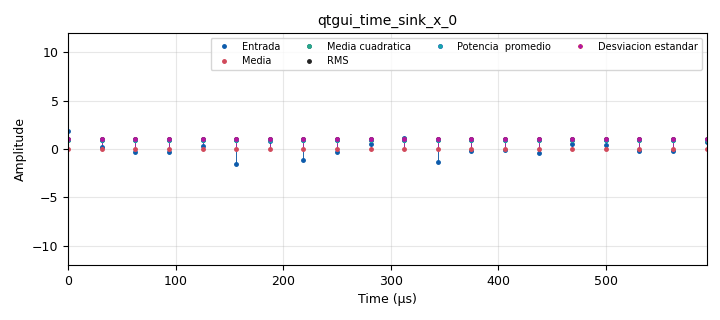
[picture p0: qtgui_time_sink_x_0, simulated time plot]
options:
  parameters:
    author: Gabriela_Nelson_Cristian
    copyright: UIS
    description: Desarrollo practica 2
    generate_options: qt_gui
    id: practica_2
    output_language: python
    title: practica_2
  states: {}

blocks:
- name: samp_rate
  id: variable
  parameters:
    value: '32000'
  states: {}
- name: analog_noise_source_x_0
  id: analog_noise_source_x
  parameters:
    amp: '1'
    noise_type: analog.GR_GAUSSIAN
    seed: '0'
    type: float
  states: {}
- name: blocks_vector_source_x_0
  id: blocks_vector_source_x
  parameters:
    repeat: 'True'
    type: float
    vector: (1,4,-2,-3)
  states: {state: disabled}
- name: epy_block_0
  id: epy_block
  parameters:
    _source_code: "import numpy as np\nfrom gnuradio import gr\n\n\nclass blk(gr.sync_block):  \n\n\n\tdef __init__(self,):  \n\t\t\"\"\"Bloque promediador\"\"\"\n\t\tgr.sync_block.__init__( \n\t\tself,\n\t\tname='Time average',\n\t\tin_sig=[np.float32],\n\t\tout_sig=[np.float32,np.float32,np.float32,np.float32,np.float32]\n\t\t)\n\t\tself.acum_anterior=0\n\t\tself.Ntotales=0\n\t\t#self.acum_cuad=0\n\t\t#self.acum_des=0\n\t\tself.acum_anterior2=0\n\t\tself.acum_anterior3=0\n\n\tdef work(self, input_items, output_items):\n\t\tx=input_items[0]\n\t\ty1=output_items[0]#media\n\t\ty2=output_items[1]#media cuadratica\n\t\ty3=output_items[2]#RMS\n\t\ty4=output_items[3]#Potencia promedio\n\t\ty5=output_items[4]#Desviacion estandar\n\t\t\n\t\tN=len(x)\n\t\tself.Ntotales=self.Ntotales+N\n\t\tacumulado=self.acum_anterior+np.cumsum(x)#se usa esto debido a que se quiere saber el acumulado de toda \t\t\t#la señal no solo el de un vector\n\t\tself.acum_anterior=acumulado[N-1]\n\t\ty1[:]=acumulado/self.Ntotales\n\t\t\n\t\t#media cuadratica\n\t\t\n\t\tx2=np.multiply(x,x)\n\t\tacumulado2=self.acum_anterior2+np.cumsum(x2)#se usa esto debido a que se quiere saber el acumulado de toda \t\t\t#la señal no solo el de un vector\n\t\tself.acum_anterior2=acumulado2[N-1]\n\t\ty2[:]=acumulado2/self.Ntotales\n\t\t\n\t\t#RMS\n\t\t\n\t\ty3[:]=np.sqrt(y2)\n\t\t\n\t\t#Potencia promedio\n\t\t\n\t\ty4[:]=np.multiply(y3,y3)\n\t\t\n\t\t#Desviación estandar\n\t\t\n\t\tx3=np.multiply(x-y1,x-y1)\n\t\tacumulado3=self.acum_anterior3+np.cumsum(x3)#se usa esto debido a que se quiere saber el acumulado de toda \t\t\t#la señal no solo el de un vector\n\t\tself.acum_anterior3=acumulado3[N-1]\n\t\ty5[:]=np.sqrt(acumulado3/self.Ntotales)\t\n\t \n\n\t\t\n\t\treturn len(x)\n\n      \n"
  states: {}
- name: qtgui_number_sink_0
  id: qtgui_number_sink
  parameters:
    graph_type: qtgui.NUM_GRAPH_HORIZ
    name: '"La media"'
    type: float
  states: {}
- name: qtgui_number_sink_0_0
  id: qtgui_number_sink
  parameters:
    graph_type: qtgui.NUM_GRAPH_HORIZ
    name: '"La media cuadratica"'
    type: float
  states: {}
- name: qtgui_number_sink_0_0_0
  id: qtgui_number_sink
  parameters:
    graph_type: qtgui.NUM_GRAPH_HORIZ
    name: '"RMS"'
    type: float
  states: {}
- name: qtgui_number_sink_0_0_0_0
  id: qtgui_number_sink
  parameters:
    graph_type: qtgui.NUM_GRAPH_HORIZ
    name: '"Potencia promedio"'
    type: float
  states: {}
- name: qtgui_number_sink_0_0_0_0_0
  id: qtgui_number_sink
  parameters:
    graph_type: qtgui.NUM_GRAPH_HORIZ
    name: '"Desviaciion Estandar"'
    type: float
  states: {}
- name: qtgui_time_sink_x_0
  id: qtgui_time_sink_x
  parameters:
    label1: Entrada
    label2: Media
    label3: Media cuadratica
    label4: RMS
    label5: Potencia  promedio
    label6: Desviacion estandar
    marker1: '0'
    marker2: '2'
    marker3: '1'
    marker4: '7'
    marker5: '6'
    marker6: '3'
    nconnections: '6'
    size: '20'
    srate: samp_rate
    stemplot: 'True'
    type: float
    width1: '4'
    width2: '4'
    width3: '4'
    width4: '4'
    width5: '4'
    width6: '4'
    ymax: '12'
    ymin: '-12'
  states: {}

connections:
- [analog_noise_source_x_0, '0', epy_block_0, '0']
- [analog_noise_source_x_0, '0', qtgui_time_sink_x_0, '0']
- [blocks_vector_source_x_0, '0', epy_block_0, '0']
- [blocks_vector_source_x_0, '0', qtgui_time_sink_x_0, '0']
- [epy_block_0, '0', qtgui_number_sink_0, '0']
- [epy_block_0, '0', qtgui_time_sink_x_0, '1']
- [epy_block_0, '1', qtgui_number_sink_0_0, '0']
- [epy_block_0, '1', qtgui_time_sink_x_0, '2']
- [epy_block_0, '2', qtgui_number_sink_0_0_0, '0']
- [epy_block_0, '2', qtgui_time_sink_x_0, '3']
- [epy_block_0, '3', qtgui_number_sink_0_0_0_0, '0']
- [epy_block_0, '3', qtgui_time_sink_x_0, '4']
- [epy_block_0, '4', qtgui_number_sink_0_0_0_0_0, '0']
- [epy_block_0, '4', qtgui_time_sink_x_0, '5']

metadata:
  file_format: 1
